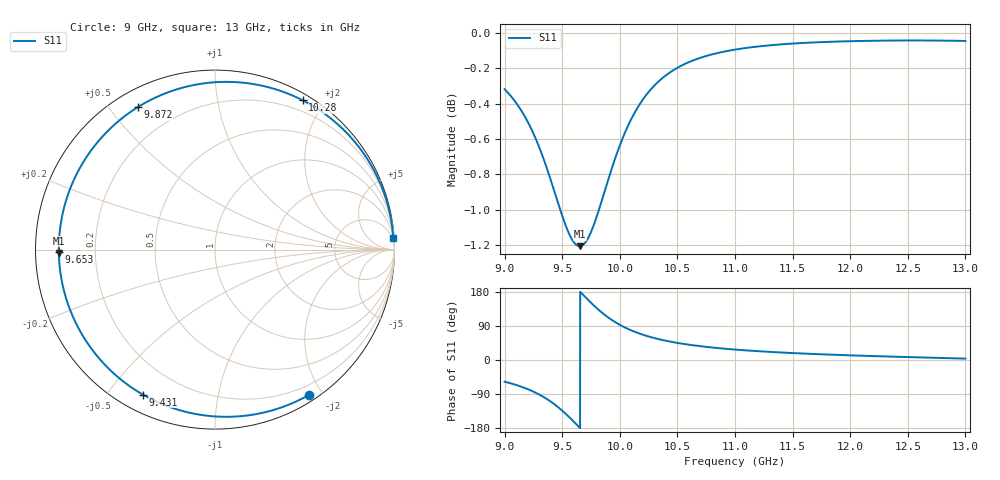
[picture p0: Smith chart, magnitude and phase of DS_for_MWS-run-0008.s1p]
! TOUCHSTONE file generated by CST DESIGN STUDIO
! Date and time: Tue Feb  4 18:30:42 2025
! Project name: C:\Work\MatlabApps\UnitCellOptimizationMatlab\CST\unitcell.cst
! Tree item: Tasks\Sweep1\SPara1\S-Parameters
! Header version: 2024
! Port assignment regex: !\s*Touchstone port\s*([0-9]+)\s*=\s*(CST MWS port|CST DES external port|CST DES block port)\s*(.+)\s* \(\"(.*)\"\)(\s*mode\s*([0-9]+))?.*
! Touchstone port assignment:
! Touchstone port 1 = CST DES external port 1 ("")
# GHz S MA R 50
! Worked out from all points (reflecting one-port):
!   4001 points, 9 GHz to 13 GHz, reference 50 ohm
!   lowest |S11| = -1.2 dB at 9.652 GHz (marker M1), VSWR 14.43, Z = 3.47 - j0.537 ohm
!   phase of S11 starts at -57 deg and turns -299 deg over the sweep
!   S11 on the Smith chart (normalised r, x): 9 GHz: 0.08, -1.83; 9.431 GHz: 0.07, -0.62; 9.653 GHz: 0.07, -0.01; 9.872 GHz: 0.07, +0.59; 10.28 GHz: 0.07, +1.74; 13 GHz: 3, +31
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9  0.964 -57.3
9.109  0.9546 -66.7
9.218  0.9414 -79.1
9.336  0.9217 -97.2
9.385  0.9119 -106.6
9.431  0.9022 -116.5
9.5  0.8878 -133.6
9.54  0.8805 -144.6
9.582  0.8745 -157.0
9.618  0.8714 -168.1
9.652  0.8704 -178.8
9.653  0.8704 -179.1
9.699  0.8723 166.5
9.747  0.878 151.9
9.81  0.8894 134.0
9.872  0.9029 118.4
9.933  0.9161 105.2
10  0.9294 92.8
10.133  0.9499 74.0
10.279  0.9647 59.6
10.383  0.9718 51.9
10.5  0.9776 45.1
10.719  0.9844 35.7
11  0.9892 27.5
11.5  0.9931 18.3
12  0.9947 12.3
12.5  0.9951 7.7
13  0.9948 3.6
